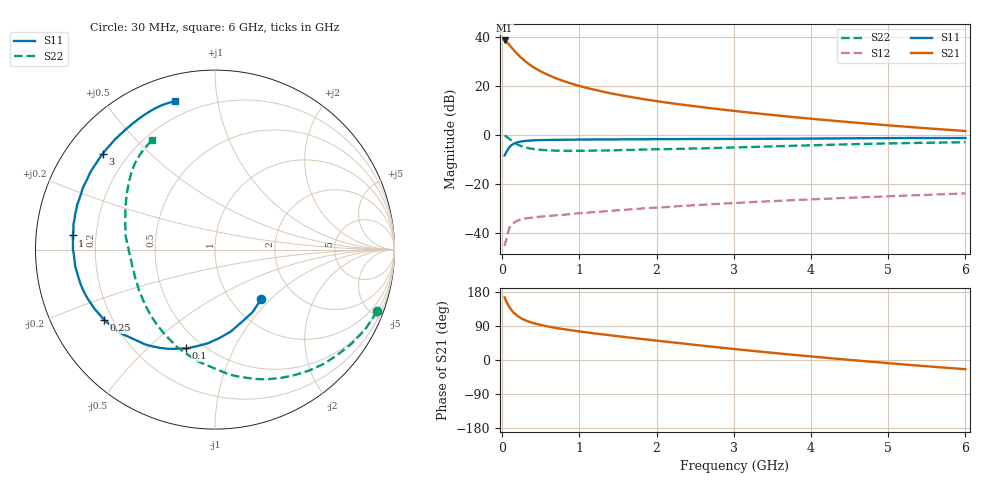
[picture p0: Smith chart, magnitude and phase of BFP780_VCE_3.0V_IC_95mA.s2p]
! Infineon Technologies  Discrete & RF Semiconductors
! BFP780
! VCE =  3.0 V,  IC =  95 mA
! Common Emitter S-Parameters:  Jul 2015
# GHz  S  MA  R  50
!  f  S11  S21  S12  S22
! GHz  MAG  ANG  MAG  ANG  MAG  ANG  MAG  ANG
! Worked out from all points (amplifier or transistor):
!   75 points, 30 MHz to 6 GHz, reference 50 ohm
!   highest |S21| = 38.5 dB at 30 MHz (marker M1)
!   |S21| within 3 dB of that: start of sweep to 123.2 MHz
!   unconditionally stable (mu >= 1): 1.707 GHz to end of sweep
!   at 150 MHz: K = 0.16, MSG = 35.2 dB, |S12| = -35.9 dB
!   at 2.3 GHz: K = 1.12, MAG = 18.7 dB, |S12| = -29.1 dB
!   at 6 GHz: K = 1.26, MAG = 9.6 dB, |S12| = -24.0 dB
!   S11 on the Smith chart (normalised r, x): 30 MHz: 1.37, -0.88; 100 MHz: 0.41, -0.67; 250 MHz: 0.17, -0.28; 1 GHz: 0.11, +0.05; 3 GHz: 0.11, +0.37; 6 GHz: 0.12, +0.76
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0.03  0.3779 -47.0  84.28 165.2  0.0053 80.0  0.9663 -20.9
0.05  0.4334 -70.8  79.92 155.6  0.0067 60.7  0.9236 -34.7
0.06  0.4661 -79.4  77.37 151.5  0.0085 60.7  0.8989 -40.9
0.08  0.5227 -94.1  71.75 143.7  0.0106 56.2  0.8541 -52.1
0.1  0.5731 -106.2  65.92 137.2  0.0132 53.8  0.8048 -62.6
0.12  0.6126 -115.6  60.47 131.5  0.0146 47.1  0.7596 -71.8
0.15  0.6561 -126.4  53.27 124.6  0.0161 43.3  0.7007 -83.5
0.2  0.7049 -138.9  43.7 115.9  0.0176 35.4  0.6291 -99.1
0.25  0.7311 -147.6  36.75 109.6  0.0191 33.6  0.5833 -111.1
0.3  0.7484 -154.0  31.42 104.7  0.0195 30.2  0.549 -120.7
0.35  0.7603 -158.9  27.39 100.8  0.02 27.6  0.5271 -128.4
0.5  0.777 -168.8  19.62 92.4  0.0213 26.2  0.4905 -144.3
0.7  0.7859 -177.2  14.14 84.4  0.0226 26.0  0.4727 -157.3
1  0.7966 174.3  9.922 75.4  0.025 27.1  0.4708 -169.1
1.1  0.7963 172.0  8.998 72.7  0.0256 27.5  0.4706 -172.2
1.5  0.8036 164.0  6.566 62.8  0.0287 29.0  0.4829 178.8
2.1  0.8125 153.6  4.606 48.8  0.0331 29.8  0.5073 169.1
3  0.8226 139.4  3.076 29.1  0.0403 28.0  0.5493 155.2
3.1  0.8239 138.0  2.953 27.0  0.0411 27.6  0.5553 153.7
4.1  0.8373 124.2  2.055 7.5  0.0487 23.6  0.6148 140.8
5.1  0.855 113.1  1.514 -10.0  0.0562 18.8  0.6686 129.6
6  0.8568 105.1  1.192 -24.3  0.0634 13.4  0.7042 119.7
